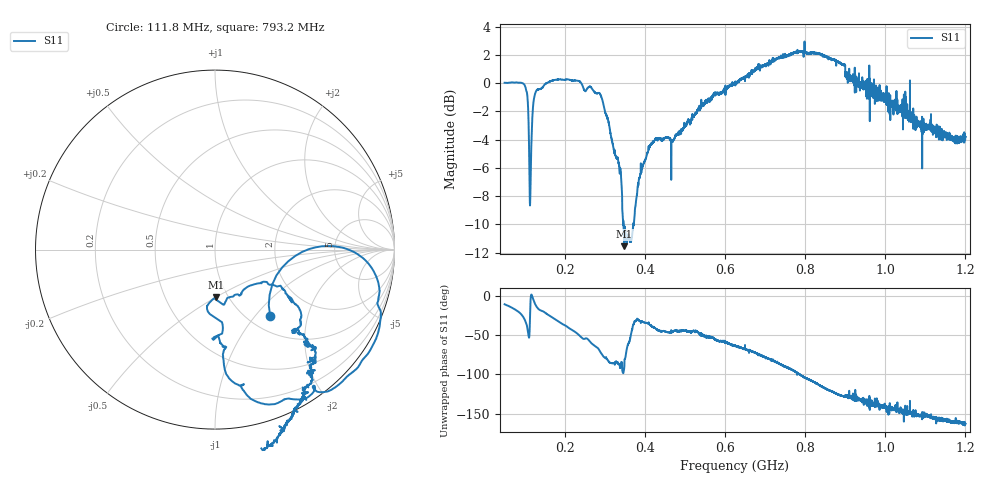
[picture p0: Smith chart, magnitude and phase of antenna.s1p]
! Calibrated high-resolution NanoVNA antenna measurement
# Hz S RI R 50
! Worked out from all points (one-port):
!   40001 points, 50 MHz to 1.2 GHz, reference 50 ohm
!   lowest |S11| = -11.5 dB at 349 MHz (marker M1), VSWR 1.72, Z = 43.8 - j25 ohm
!   |S11| at or under -10 dB: 346.0109 MHz to 346.1316 MHz (120.7 kHz wide, 0.0349 % of centre); 346.7 MHz to 371.4 MHz (24.72 MHz wide, 6.88 % of centre); 372.0205 MHz to 372.364 MHz (343.5 kHz wide, 0.0923 % of centre) (the widest 3 of 6)
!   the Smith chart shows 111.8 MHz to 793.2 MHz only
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5e7  0.9861 -0.1827
9.531e7  0.8995 -0.4337
1.01635e8  0.8256 -0.5133
1.058612e8  0.7247 -0.5703
1.121862e8  0.3021 -0.3236
1.1877e8  0.7356 0.00284
1.229962e8  0.8703 -0.0985
1.282e8  0.9131 -0.1986
1.9375e8  0.838 -0.5974
2.597312e8  0.5403 -0.8032
2.88855e8  0.2925 -0.8628
3.1266e8  0.059 -0.6837
3.375e8  0.0162 -0.4776
3.49e8  0.00443 -0.2648
3.671125e8  0.2019 -0.1986
3.9385e8  0.4238 -0.2705
4.33295e8  0.4511 -0.4438
4.8125e8  0.4646 -0.4635
5.30125e8  0.558 -0.5605
6.25e8  0.4321 -0.8999
6.765775e8  0.3416 -1.061
7.6875e8  -0.098 -1.269
8.1981e8  -0.4192 -1.21
8.5431e8  -0.5982 -1.085
8.942438e8  -0.7081 -0.9226
9.125e8  -0.6627 -0.8143
1.05625e9  -0.6495 -0.3844
1.2e9  -0.6095 -0.1932
